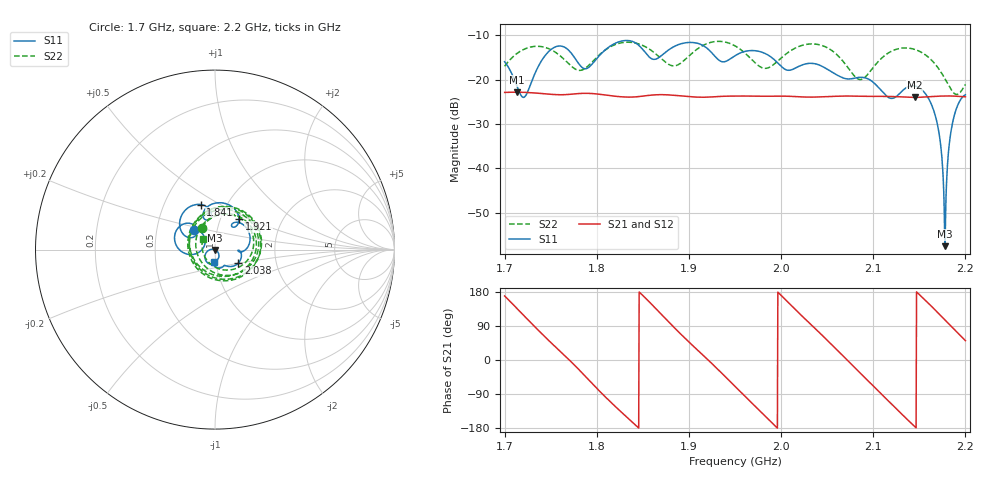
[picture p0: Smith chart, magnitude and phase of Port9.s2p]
# Hz S RI R 50
! CMT, CMT808U, 21440046, 21.4.3/4
! Date: 6/12/2026 9:33:09 AM
! Data: Format (Calibration Info)
! Freq	S11:Re/Im(F2)	S41:Re/Im(F2)	S14:Re/Im(F2)	S44:Re/Im(F2)
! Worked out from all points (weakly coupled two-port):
!   1001 points, 1.7 GHz to 2.2 GHz, reference 50 ohm
!   highest |S21| = -22.80 dB at 1.713 GHz (marker M1); lowest = -24.0 dB at 2.145 GHz (marker M2)
!   lowest |S11| = -57.5 dB at 2.178 GHz (marker M3), VSWR 1.00, Z = 50 - j0.132 ohm
!   |S11| at or under -10 dB: start of sweep to end of sweep
!   |S22| runs from -23.3 to -11.3 dB; largest |S21 - S12| = 0.0012
!   S11 on the Smith chart (normalised r, x): 1.7 GHz: 0.78, +0.17; 1.841 GHz: 0.76, +0.41; 1.921 GHz: 1.22, +0.44; 2.038 GHz: 1.28, -0.20; 2.2 GHz: 0.98, -0.13
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1.7e9  -0.1158 0.1098  -0.0706 0.0136  -0.0705 0.0126  -0.0719 0.1221
1.713e9  -0.0576 0.0652  -0.053 0.0494  -0.0534 0.0484  0.0237 0.1948
1.722e9  -0.063 0.0138  -0.0299 0.0656  -0.0307 0.0648  0.1112 0.1929
1.7565e9  -0.2249 0.076  0.0579 0.0354  0.057 0.0361  0.1707 -0.1032
1.7835e9  -0.0989 0.0981  0.0591 -0.0378  0.0595 -0.0367  -0.1114 -0.0636
1.8145e9  -0.197 0.1352  -0.0223 -0.0623  -0.0212 -0.0625  0.018 0.2337
1.841e9  -0.0804 0.2511  -0.0629 -0.0119  -0.0624 -0.0128  0.2545 0.0558
1.867e9  -0.0558 0.1678  -0.0421 0.0532  -0.0428 0.0523  0.0603 -0.1738
1.893e9  -0.00677 0.2567  0.0286 0.0588  0.0276 0.059  -0.1509 0.051
1.9215e9  0.134 0.1719  0.0637 -0.00164  0.0636 -0.000514  0.1191 0.2306
1.95e9  0.109 0.1513  0.023 -0.0613  0.0239 -0.0607  0.2329 -0.0621
1.991e9  0.1741 0.00306  -0.0637 -0.0138  -0.0633 -0.0149  -0.1427 0.0301
2.0335e9  0.1413 -0.0585  -0.00118 0.0637  -0.00233 0.0636  0.2175 0.13
2.0385e9  0.1298 -0.0753  0.0117 0.0628  0.0105 0.0629  0.2388 0.0781
2.064e9  0.0603 -0.0902  0.0619 0.0209  0.0614 0.0219  0.1082 -0.1393
2.0855e9  0.0379 -0.0995  0.0543 -0.0361  0.0548 -0.0351  -0.0892 -0.0464
2.117e9  -0.00596 -0.0624  -0.0213 -0.0612  -0.0202 -0.0614  0.041 0.1978
2.145e9  -0.0372 -0.0765  -0.0631 -0.00486  -0.063 -0.00598  0.2158 0.0408
2.1675e9  -0.0384 -0.00594  -0.0429 0.0488  -0.0437 0.048  0.0994 -0.1105
2.178e9  0.000134 -0.00132  -0.0173 0.0633  -0.0185 0.0629  0.00798 -0.1016
2.186e9  0.0209 -0.0248  0.00534 0.0653  0.00415 0.0653  -0.0458 -0.0578
2.2e9  -0.00766 -0.0674  0.0403 0.0499  0.0394 0.0506  -0.0679 0.0571
